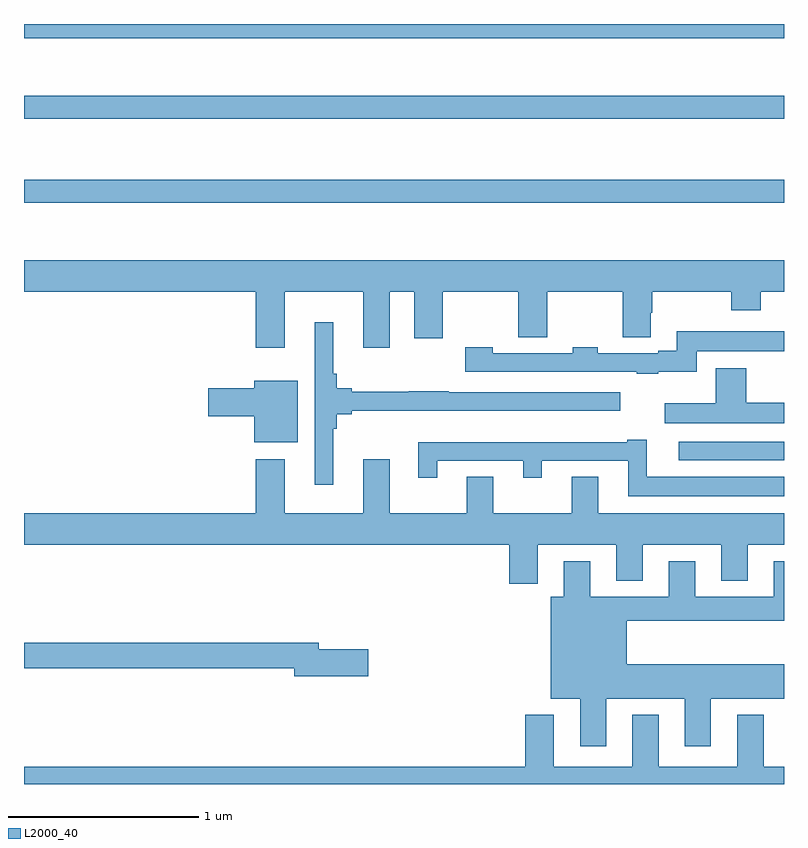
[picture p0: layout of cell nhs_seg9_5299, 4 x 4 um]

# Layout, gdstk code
import gdstk
lib = gdstk.Library(unit=1e-6, precision=1e-09)
def R(c, l, rs):  # rectangles x0, y0, x1, y1
    for r in rs: c.add(gdstk.rectangle(r[:2], r[2:], *l))
def P(c, l, *ps):  # polygons
    for p in ps: c.add(gdstk.Polygon(p, *l))
L2000_40 = (2000, 40)

nhs_seg9_5299 = lib.new_cell('nhs_seg9_5299')
R(nhs_seg9_5299, L2000_40, [(422.445,1190.205,423,1190.301), (419,1191.558,423,1191.679), (419,1192.002,423,1192.123), (419,1192.424,423,1192.5)])
P(nhs_seg9_5299, L2000_40, [(420.373,1191.092),(420.785,1191.092),(420.785,1190.796),(420.925,1190.796),(420.925,1191.092),(421.055,1191.092),(421.055,1190.847),(421.203,1190.847),(421.203,1191.092),(421.6,1191.092),(421.6,1190.851),(421.754,1190.851),(421.754,1191.092),(422.152,1191.092),(422.152,1190.851),(422.299,1190.851),(422.299,1190.98),(422.307,1190.98),(422.307,1191.092),(422.722,1191.092),(422.722,1190.993),(422.877,1190.993),(422.877,1191.092),(423,1191.092),(423,1191.256),(419,1191.256),(419,1191.092),(420.221,1191.092),(420.221,1190.796),(420.373,1190.796)],
  [(420.628,1190.369),(420.647,1190.369),(420.647,1190.446),(420.724,1190.446),(420.724,1190.464),(420.98,1190.464),(420.98,1190.465),(422.137,1190.465),(422.137,1190.562),(421.235,1190.562),(421.235,1190.567),(421.024,1190.567),(421.024,1190.565),(420.724,1190.565),(420.724,1190.582),(420.647,1190.582),(420.647,1190.659),(420.628,1190.659),(420.628,1190.929),(420.531,1190.929),(420.531,1190.076),(420.628,1190.076)],
  [(422.338,1190.669),(422.542,1190.669),(422.542,1190.777),(423,1190.777),(423,1190.884),(422.435,1190.884),(422.435,1190.779),(422.339,1190.779),(422.339,1190.766),(422.019,1190.766),(422.019,1190.799),(421.887,1190.799),(421.887,1190.766),(421.467,1190.766),(421.467,1190.799),(421.323,1190.799),(421.323,1190.67),(422.224,1190.67),(422.224,1190.658),(422.338,1190.658)],
  [(423,1190.506),(422.8,1190.506),(422.8,1190.689),(422.642,1190.689),(422.642,1190.503),(422.373,1190.503),(422.373,1190.399),(423,1190.399)],
  [(420.442,1190.623),(420.212,1190.623),(420.212,1190.582),(419.97,1190.582),(419.97,1190.435),(420.212,1190.435),(420.212,1190.3),(420.442,1190.3)],
  [(423,1190.116),(422.278,1190.116),(422.278,1190.311),(422.174,1190.311),(422.174,1190.299),(421.076,1190.299),(421.076,1190.112),(421.174,1190.112),(421.174,1190.202),(421.628,1190.202),(421.628,1190.112),(421.726,1190.112),(421.726,1190.202),(422.18,1190.202),(422.18,1190.015),(423,1190.015)],
  [(421.705,1189.76),(422.117,1189.76),(422.117,1189.571),(422.257,1189.571),(422.257,1189.76),(422.669,1189.76),(422.669,1189.571),(422.809,1189.571),(422.809,1189.76),(423,1189.76),(423,1189.924),(422.023,1189.924),(422.023,1190.117),(421.883,1190.117),(421.883,1189.924),(421.471,1189.924),(421.471,1190.117),(421.331,1190.117),(421.331,1189.924),(420.925,1189.924),(420.925,1190.209),(420.785,1190.209),(420.785,1189.924),(420.373,1189.924),(420.373,1190.209),(420.221,1190.209),(420.221,1189.924),(419,1189.924),(419,1189.76),(421.553,1189.76),(421.553,1189.554),(421.705,1189.554)],
  [(422.065,1188.95),(422.477,1188.95),(422.477,1188.699),(422.614,1188.699),(422.614,1188.95),(423,1188.95),(423,1189.129),(422.173,1189.129),(422.173,1189.358),(423,1189.358),(423,1189.672),(422.945,1189.672),(422.945,1189.486),(422.533,1189.486),(422.533,1189.672),(422.393,1189.672),(422.393,1189.486),(421.981,1189.486),(421.981,1189.672),(421.841,1189.672),(421.841,1189.486),(421.772,1189.486),(421.772,1188.95),(421.928,1188.95),(421.928,1188.699),(422.065,1188.699)],
  [(420.811,1189.208),(420.55,1189.208),(420.55,1189.244),(419,1189.244),(419,1189.108),(420.422,1189.108),(420.422,1189.066),(420.811,1189.066)],
  [(423,1188.592),(422.893,1188.592),(422.893,1188.865),(422.753,1188.865),(422.753,1188.592),(422.341,1188.592),(422.341,1188.865),(422.201,1188.865),(422.201,1188.592),(421.789,1188.592),(421.789,1188.865),(421.637,1188.865),(421.637,1188.592),(419,1188.592),(419,1188.5),(423,1188.5)])

lib.write_gds('nhs_seg9_5299.gds')
